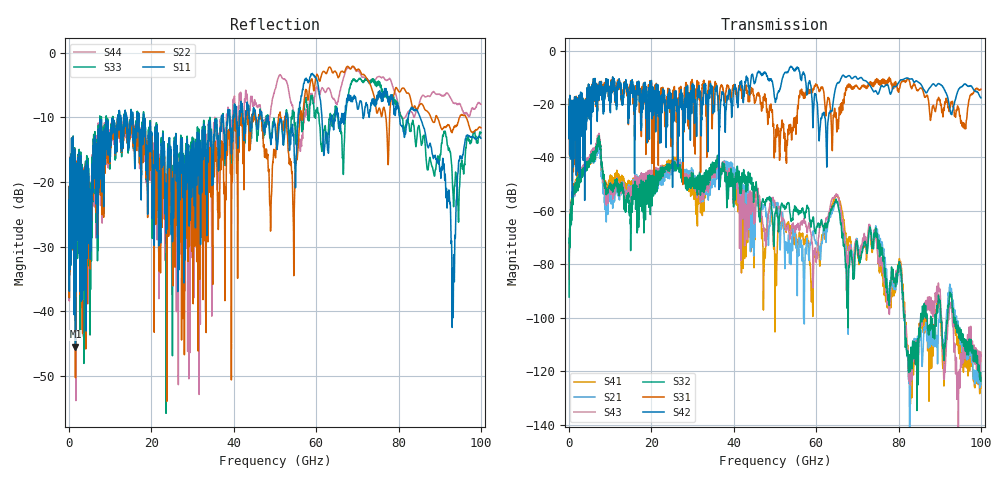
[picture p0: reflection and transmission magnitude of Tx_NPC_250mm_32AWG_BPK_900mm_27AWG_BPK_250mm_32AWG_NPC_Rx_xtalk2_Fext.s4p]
! Info: Touchstone file created by Circ.  Input file=Tx_NPC_250mm_32AWG_BPK_900mm_27AWG_BPK_250mm_32AWG_NPC_Rx.circ
# Hz S RI R 50
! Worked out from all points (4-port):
!   10000 points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, 10 MHz to 100 GHz, reference 50 ohm
!   strongest paths, dB at 10 MHz, 25.01 GHz, 50.01 GHz, 75.01 GHz, 100 GHz:
!     S42: -27.5, -19.4, -18.3, -16.3, -17.6
!     S31: -27.5, -25.3, -35.2, -10.9, -14.4
!     S32: -92.3, -42.1, -60.9, -73.2, -123.8
!     S43: -79.2, -42.2, -57.6, -78.7, -116.5
!     S21: -78.8, -43.1, -57.8, -71.5, -125.1
!     S41: -85.7, -40.9, -105.3, -78.7, -126.4
!   lowest |S11| = -45.5 dB at 1.55 GHz (marker M1), VSWR 1.01, Z = 49.9 + j0.511 ohm
!   |S11| at or under -10 dB: start of sweep to 11.83 GHz; 18.11 GHz to 37.01 GHz (18.91 GHz wide, 68.6 % of centre); 85.24 GHz to end of sweep (the widest 3 of 49)
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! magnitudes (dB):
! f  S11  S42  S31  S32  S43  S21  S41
! 10 MHz  -23.3  -27.5  -27.5  -92.3  -79.2  -78.8  -85.7
! 1.55 GHz  -45.5  -30.3  -31.3  -50.0  -50.0  -50.4  -49.0
! 37.65 GHz  -12.1  -19.7  -18.5  -42.4  -41.7  -41.3  -41.7
! 59.18 GHz  -3.3  -27.6  -14.9  -62.6  -76.0  -67.7  -99.5
! 65 GHz  -8.6  -12.5  -30.2  -56.6  -54.2  -57.0  -54.1
! 93.25 GHz  -39.4  -21.8  -21.0  -97.2  -102.9  -94.1  -97.2
! 100 GHz  -13.2  -17.6  -14.4  -123.8  -116.5  -125.1  -126.4
